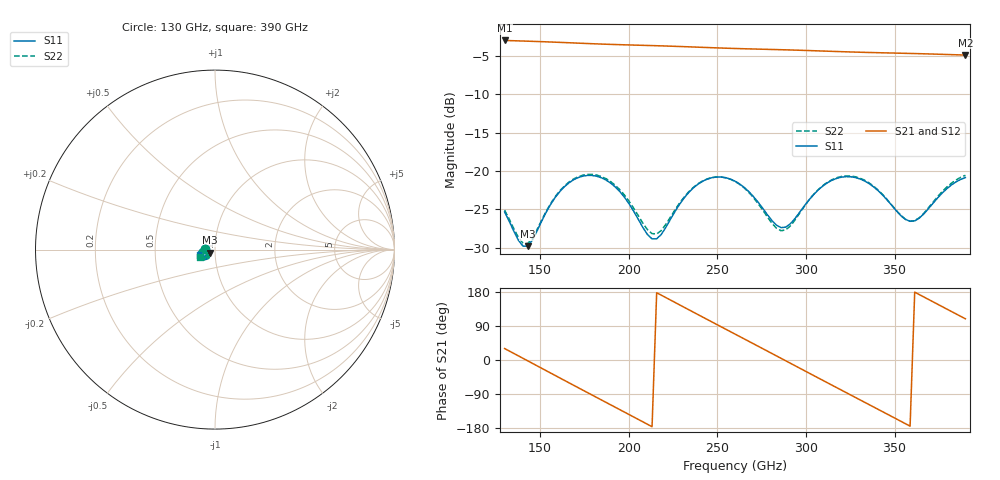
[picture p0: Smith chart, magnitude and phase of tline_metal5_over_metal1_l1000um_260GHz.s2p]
#  GHZ S DB R 50
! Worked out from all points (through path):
!   101 points, 130 GHz to 390 GHz, reference 50 ohm
!   highest |S21| = -2.96 dB at 130 GHz (marker M1); lowest = -4.9 dB at 390 GHz (marker M2)
!   group delay of S21, straight-line fit = 6.85 ps
!   lowest |S11| = -29.8 dB at 143 GHz (marker M3), VSWR 1.07, Z = 47.3 - j1.59 ohm
!   |S11| at or under -10 dB: start of sweep to end of sweep
!   |S22| runs from -29.5 to -20.4 dB; largest |S21 - S12| = 8e-14
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130  -25.34 177.1  -2.96 30.2  -2.96 30.2  -25.09 178.8
137.8  -29.03 -171.5  -3.02 10.9  -3.02 10.9  -28.66 -170.3
143  -29.80 -148.6  -3.06 -2.1  -3.06 -2.1  -29.47 -148.6
156  -24.33 -127.2  -3.16 -34.5  -3.16 -34.5  -24.23 -126.7
174.2  -20.66 -151.5  -3.34 -79.7  -3.34 -79.7  -20.54 -150.0
187.2  -21.17 -172.4  -3.45 -111.8  -3.45 -111.8  -20.99 -170.4
200.2  -24.26 173.9  -3.55 -143.8  -3.55 -143.8  -23.93 176.3
210.6  -28.29 -174.6  -3.62 -169.6  -3.62 -169.6  -27.64 -173.2
218.4  -28.27 -146.8  -3.67 171.1  -3.67 171.1  -27.75 -148.2
228.8  -24.31 -135.4  -3.75 145.3  -3.75 145.3  -24.15 -136.5
241.8  -21.32 -148.1  -3.86 113.2  -3.86 113.2  -21.28 -148.4
260  -21.32 -173.6  -4.01 68.4  -4.01 68.4  -21.36 -173.5
273  -24.06 176.0  -4.09 36.5  -4.09 36.5  -24.23 176.3
286  -27.38 -165.7  -4.17 4.4  -4.17 4.4  -27.79 -163.3
304.2  -23.11 -143.3  -4.30 -40.5  -4.30 -40.5  -23.09 -139.4
314.6  -21.22 -152.9  -4.38 -66.1  -4.38 -66.1  -21.14 -149.3
325  -20.74 -166.1  -4.46 -91.6  -4.46 -91.6  -20.64 -162.7
335.4  -21.60 -178.4  -4.53 -117.1  -4.53 -117.1  -21.51 -175.0
348.4  -24.46 176.3  -4.60 -149.0  -4.60 -149.0  -24.42 179.9
358.8  -26.55 -167.8  -4.66 -174.6  -4.66 -174.6  -26.55 -163.4
369.2  -24.90 -149.0  -4.72 159.8  -4.72 159.8  -24.78 -143.8
390  -20.85 -159.5  -4.87 108.7  -4.87 108.7  -20.56 -153.7
